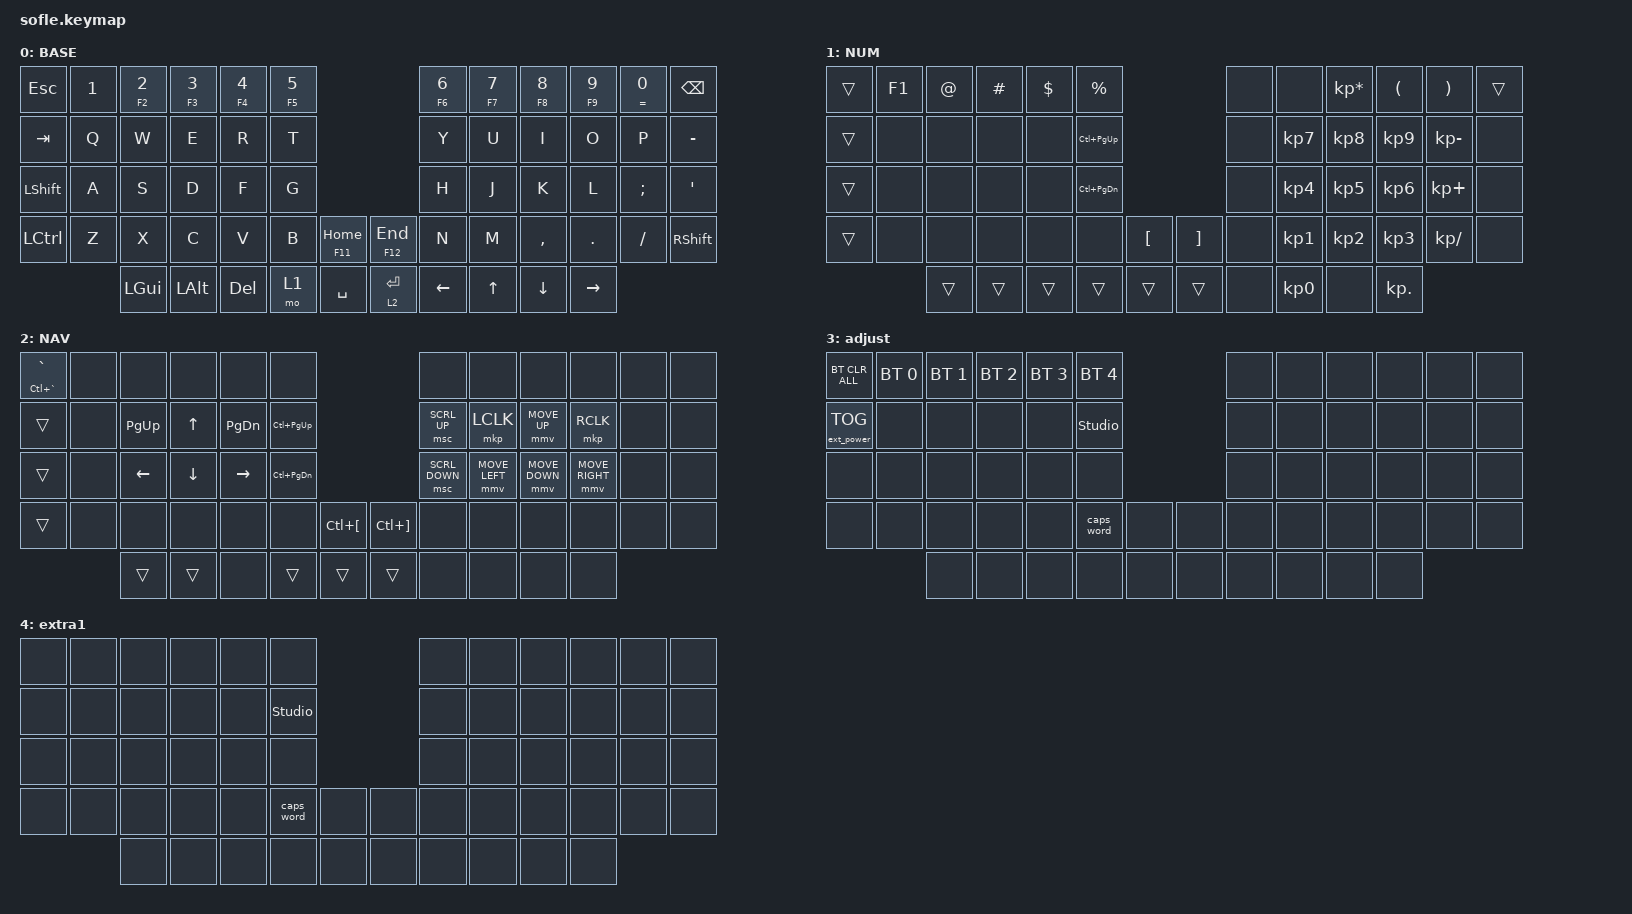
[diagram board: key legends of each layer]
/*
 * Copyright (c) 2020 The ZMK Contributors
 *
 * SPDX-License-Identifier: MIT
 */

#include <behaviors.dtsi>
#include <dt-bindings/zmk/bt.h>
#include <dt-bindings/zmk/ext_power.h>
#include <dt-bindings/zmk/keys.h>
#include <dt-bindings/zmk/pointing.h>

#define BASE 0
#define LOWER 1
#define RAISE 2
#define ADJUST 3
#define extra_layer 4

/ {
    // Activate ADJUST layer by pressing raise and lower

    conditional_layers {
        compatible = "zmk,conditional-layers";

        adjust_layer {
            if-layers = <1 2>;
            then-layer = <3>;
        };
    };

    combos { compatible = "zmk,combos"; };

    behaviors {
        caps: caps {
            compatible = "zmk,behavior-caps-word";
            label = "CAPS";
            #binding-cells = <0>;
            continue-list = <POUND MINUS BACKSPACE UNDERSCORE>;
        };

        Tap_Hold: Tap_Hold {
            compatible = "zmk,behavior-hold-tap";
            label = "TAP_HOLD";
            bindings = <&kp>, <&kp>;

            #binding-cells = <2>;
            tapping-term-ms = <200>;
        };

        Tap_Hold_MO: Tap_Hold_MO {
            compatible = "zmk,behavior-hold-tap";
            label = "TAP_HOLD_MO";
            bindings = <&mo>, <&kp>;

            #binding-cells = <2>;
            tapping-term-ms = <300>;
        };
    };

    keymap {
        compatible = "zmk,keymap";

        base_layer {
            display-name = "BASE";

            // ------------------------------------------------------------------------------------------------------------
            // |   `   |  1  |  2  |  3   |  4   |  5   |                   |  6   |  7    |  8    |  9   |   0   |       |
            // |  ESC  |  Q  |  W  |  E   |  R   |  T   |                   |  Y   |  U    |  I    |  O   |   P   | BKSPC |
            // |  TAB  |  A  |  S  |  D   |  F   |  G   |                   |  H   |  J    |  K    |  L   |   ;   |   '   |
            // | SHIFT |  Z  |  X  |  C   |  V   |  B   |  MUTE  |  |       |  N   |  M    |  ,    |  .   |   /   | SHIFT |
            //               | GUI | ALT  | CTRL | LOWER|  ENTER |  | SPACE | RAISE| CTRL  | ALT   | GUI  |

            bindings = <
&kp ESC           &kp N1  &Tap_Hold F2 N2  &Tap_Hold F3 N3  &Tap_Hold F4 N4  &Tap_Hold F5 N5                                              &Tap_Hold F6 N6  &Tap_Hold F7 N7  &Tap_Hold F8 N8  &Tap_Hold F9 N9  &Tap_Hold EQUAL N0  &kp BACKSPACE
&kp TAB           &kp Q   &kp W            &kp E            &kp R            &kp T                                                        &kp Y            &kp U            &kp I            &kp O            &kp P               &kp MINUS
&kp LEFT_SHIFT    &kp A   &kp S            &kp D            &kp F            &kp G                                                        &kp H            &kp J            &kp K            &kp L            &kp SEMI            &kp SQT
&kp LEFT_CONTROL  &kp Z   &kp X            &kp C            &kp V            &kp B            &Tap_Hold F11 HOME    &Tap_Hold F12 END     &kp N            &kp M            &kp COMMA        &kp DOT          &kp FSLH            &kp RSHFT
                          &kp LGUI         &kp LALT         &kp DEL          &mo 1            &kp SPACE             &Tap_Hold_MO 2 ENTER  &kp LEFT_ARROW   &kp UP_ARROW     &kp DOWN_ARROW   &kp RIGHT_ARROW
            >;
        };

        num_layer {
            display-name = "NUM";

            // ------------------------------------------------------------------------------------------------------------
            // | BTCLR | BT1  | BT2  |  BT3  |  BT4  |  BT5 |                |      |      |       |      |       |       |
            // |       | INS  | PSCR | GUI   |       |      |                | PGUP |      |   ^   |      |       |       |
            // |       | ALT  | CTRL | SHIFT |       | CAPS |                | PGDN |   <- |   v   |  ->  |  DEL  | BKSPC |
            // |       | UNDO | CUT  | COPY  | PASTE |      |      |  |      |      |      |       |      |       |       |
            //                |      |       |       |      |      |  |      |      |      |       |      |

            bindings = <
&trans  &kp F1  &kp AT  &kp HASH  &kp DOLLAR  &kp PERCENT                          &none  &none            &kp KP_ASTERISK  &kp LEFT_PARENTHESIS  &kp RIGHT_PARENTHESIS  &trans
&trans  &none   &none   &none     &none       &kp LC(PG_UP)                        &none  &kp KP_N7        &kp KP_N8        &kp KP_N9             &kp KP_MINUS           &none
&trans  &none   &none   &none     &none       &kp LC(PG_DN)                        &none  &kp KP_N4        &kp KP_N5        &kp KP_N6             &kp KP_PLUS            &none
&trans  &none   &none   &none     &none       &none          &kp LBKT    &kp RBKT  &none  &kp KP_N1        &kp KP_N2        &kp KP_N3             &kp KP_DIVIDE          &none
                &trans  &trans    &trans      &trans         &trans      &trans    &none  &kp KP_NUMBER_0  &none            &kp KP_DOT
            >;
        };

        nav_layer {
            display-name = "NAV";
            bindings = <
&Tap_Hold LC(GRAVE) GRAVE  &none  &none      &none     &none      &none                                        &none           &none           &none           &none            &none  &none
&trans                     &none  &kp PG_UP  &kp UP    &kp PG_DN  &kp LC(PG_UP)                                &msc SCRL_UP    &mkp LCLK       &mmv MOVE_UP    &mkp RCLK        &none  &none
&trans                     &none  &kp LEFT   &kp DOWN  &kp RIGHT  &kp LC(PG_DN)                                &msc SCRL_DOWN  &mmv MOVE_LEFT  &mmv MOVE_DOWN  &mmv MOVE_RIGHT  &none  &none
&trans                     &none  &none      &none     &none      &none          &kp LC(LBKT)    &kp LC(RBKT)  &none           &none           &none           &none            &none  &none
                                  &trans     &trans    &none      &trans         &trans          &trans        &none           &none           &none           &none
            >;
        };

        adjust_layer {
            // ----------------------------------------------------------------------------------------------------------------------------
            // | BTCLR  |  BT1    |  BT2    |   BT3   |   BT4   |   BT5   |                  |      |      |       |      |       |       |
            // | EXTPWR | RGB_HUD | RGB_HUI | RGB_SAD | RGB_SAI | RGB_EFF |                  |      |      |       |      |       |       |
            // |        | RGB_BRD | RGB_BRI |         |         |         |                  |      |      |       |      |       |       |
            // |        |         |         |         |         |         | RGB_TOG | |      |      |      |       |      |       |       |
            //                    |         |         |         |         |         | |      |      |      |       |      |

            display-name = "adjust";
            bindings = <
&bt BT_CLR_ALL     &bt BT_SEL 0  &bt BT_SEL 1  &bt BT_SEL 2  &bt BT_SEL 3  &bt BT_SEL 4                    &none  &none  &none  &none  &none  &none
&ext_power EP_TOG  &none         &none         &none         &none         &studio_unlock                  &none  &none  &none  &none  &none  &none
&none              &none         &none         &none         &none         &none                           &none  &none  &none  &none  &none  &none
&none              &none         &none         &none         &none         &caps_word      &none    &none  &none  &none  &none  &none  &none  &none
                                 &none         &none         &none         &none           &none    &none  &none  &none  &none  &none
            >;
        };

        extra_layer {
            // ----------------------------------------------------------------------------------------------------------------------------
            // | BTCLR  |  BT1    |  BT2    |   BT3   |   BT4   |   BT5   |                  |      |      |       |      |       |       |
            // | EXTPWR | RGB_HUD | RGB_HUI | RGB_SAD | RGB_SAI | RGB_EFF |                  |      |      |       |      |       |       |
            // |        | RGB_BRD | RGB_BRI |         |         |         |                  |      |      |       |      |       |       |
            // |        |         |         |         |         |         | RGB_TOG | |      |      |      |       |      |       |       |
            //                    |         |         |         |         |         | |      |      |      |       |      |

            display-name = "extra1";
            bindings = <
&none  &none  &none  &none  &none  &none                           &none  &none  &none  &none  &none  &none
&none  &none  &none  &none  &none  &studio_unlock                  &none  &none  &none  &none  &none  &none
&none  &none  &none  &none  &none  &none                           &none  &none  &none  &none  &none  &none
&none  &none  &none  &none  &none  &caps_word      &none    &none  &none  &none  &none  &none  &none  &none
              &none  &none  &none  &none           &none    &none  &none  &none  &none  &none
            >;
        };
    };
};
